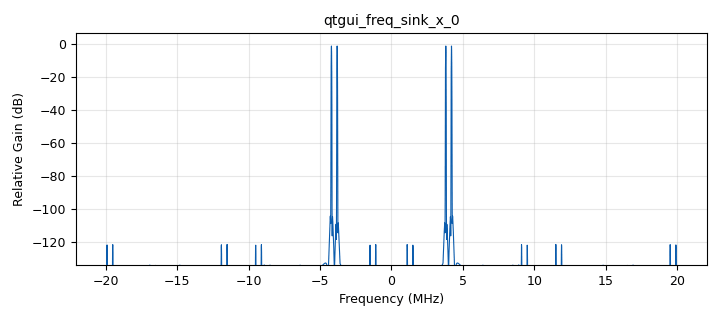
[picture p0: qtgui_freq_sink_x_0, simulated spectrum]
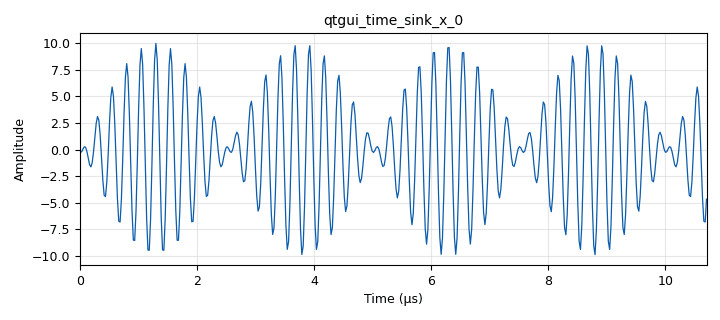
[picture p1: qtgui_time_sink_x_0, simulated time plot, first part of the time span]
options:
  parameters:
    author: nahur
    generate_options: qt_gui
    id: ejercicio_7
    output_language: python
    title: Mod DSB-SC
  states: {}

blocks:
- name: frecuencia_c
  id: variable_qtgui_range
  parameters:
    start: '800'
    step: '10'
    stop: '40000000'
    value: '4000000'
  states: {}
- name: frecuencia_m
  id: variable_qtgui_range
  parameters:
    start: '0'
    step: '10'
    stop: '2000000'
    value: '200000'
  states: {}
- name: samp_rate
  id: variable
  parameters:
    value: '44100000'
  states: {}
- name: analog_sig_source_x_0
  id: analog_sig_source_x
  parameters:
    amp: '1'
    freq: frecuencia_m
    offset: '0'
    phase: '0'
    samp_rate: samp_rate
    type: float
    waveform: analog.GR_COS_WAVE
  states: {}
- name: analog_sig_source_x_1
  id: analog_sig_source_x
  parameters:
    amp: '10'
    freq: frecuencia_c
    offset: '0'
    phase: '0'
    samp_rate: samp_rate
    type: float
    waveform: analog.GR_COS_WAVE
  states: {}
- name: blocks_multiply_xx_0
  id: blocks_multiply_xx
  parameters:
    type: float
  states: {}
- name: blocks_throttle2_0
  id: blocks_throttle2
  parameters:
    samples_per_second: samp_rate
    type: float
  states: {}
- name: blocks_throttle2_1
  id: blocks_throttle2
  parameters:
    samples_per_second: samp_rate
    type: float
  states: {}
- name: qtgui_freq_sink_x_0
  id: qtgui_freq_sink_x
  parameters:
    autoscale: 'True'
    average: '0.05'
    bw: samp_rate
    fc: '0'
    fftsize: '4096'
    grid: 'True'
    type: float
  states: {}
- name: qtgui_time_sink_x_0
  id: qtgui_time_sink_x
  parameters:
    autoscale: 'True'
    grid: 'True'
    size: '2048'
    srate: samp_rate
    type: float
  states: {}

connections:
- [analog_sig_source_x_0, '0', blocks_throttle2_1, '0']
- [analog_sig_source_x_1, '0', blocks_throttle2_0, '0']
- [blocks_multiply_xx_0, '0', qtgui_freq_sink_x_0, '0']
- [blocks_multiply_xx_0, '0', qtgui_time_sink_x_0, '0']
- [blocks_throttle2_0, '0', blocks_multiply_xx_0, '1']
- [blocks_throttle2_1, '0', blocks_multiply_xx_0, '0']

metadata:
  file_format: 1
  grc_version: 3.10.12.0
